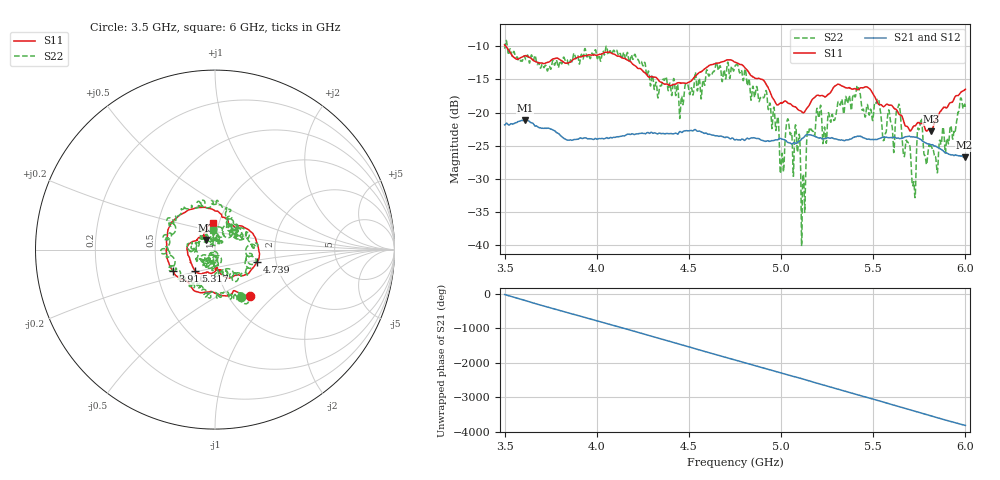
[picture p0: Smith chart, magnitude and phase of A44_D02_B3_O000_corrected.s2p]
! Created with skrf 1.9.0 (http://scikit-rf.org).
# Hz S RI R 50.0
!freq ReS11 ImS11 ReS21 ImS21 ReS12 ImS12 ReS22 ImS22
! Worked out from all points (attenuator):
!   1601 points, 3.5 GHz to 6 GHz, reference 50 ohm
!   highest |S21| = -21.15 dB at 3.611 GHz (marker M1); lowest = -26.7 dB at 5.995 GHz (marker M2)
!   lowest |S11| = -22.8 dB at 5.814 GHz (marker M3), VSWR 1.16, Z = 45.2 + j4.87 ohm
!   |S11| at or under -10 dB: 3.506 GHz to end of sweep
!   |S22| runs from -40.1 to -9.1 dB; largest |S21 - S12| = 0.00091
!   S11 on the Smith chart (normalised r, x): 3.5 GHz: 1.25, -0.72; 3.916 GHz: 0.61, -0.16; 4.739 GHz: 1.59, -0.24; 5.317 GHz: 0.78, -0.19; 6 GHz: 0.94, +0.29
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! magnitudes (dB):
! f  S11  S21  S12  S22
! 3.5 GHz  -9.8  -21.9  -21.9  -10.4
! 3.611 GHz  -11.4  -21.2  -21.1  -11.8
! 3.916 GHz  -11.6  -23.9  -23.9  -11.3
! 3.917 GHz  -11.6  -23.9  -23.9  -11.2
! 4.334 GHz  -15.1  -23.2  -23.1  -17.5
! 4.739 GHz  -12.2  -23.9  -23.9  -13.5
! 4.75 GHz  -12.4  -24.1  -24.1  -13.0
! 4.927 GHz  -16.1  -24.2  -24.2  -18.5
! 5.005 GHz  -18.5  -24.0  -24.0  -26.3
! 5.034 GHz  -18.5  -24.5  -24.4  -21.1
! 5.088 GHz  -19.4  -24.6  -24.5  -26.0
! 5.12 GHz  -20.0  -23.8  -23.7  -29.3
! 5.147 GHz  -19.1  -23.4  -23.4  -22.8
! 5.167 GHz  -18.1  -23.4  -23.4  -22.7
! 5.317 GHz  -15.8  -24.1  -24.1  -18.7
! 5.584 GHz  -18.9  -23.8  -23.8  -19.6
! 5.638 GHz  -20.1  -23.8  -23.8  -18.8
! 5.719 GHz  -22.1  -23.7  -23.6  -30.6
! 5.752 GHz  -21.6  -24.0  -23.9  -22.0
! 5.814 GHz  -22.8  -24.9  -24.8  -25.0
! 5.995 GHz  -16.6  -26.7  -26.7  -18.7
! 6 GHz  -16.5  -26.7  -26.7  -19.2
